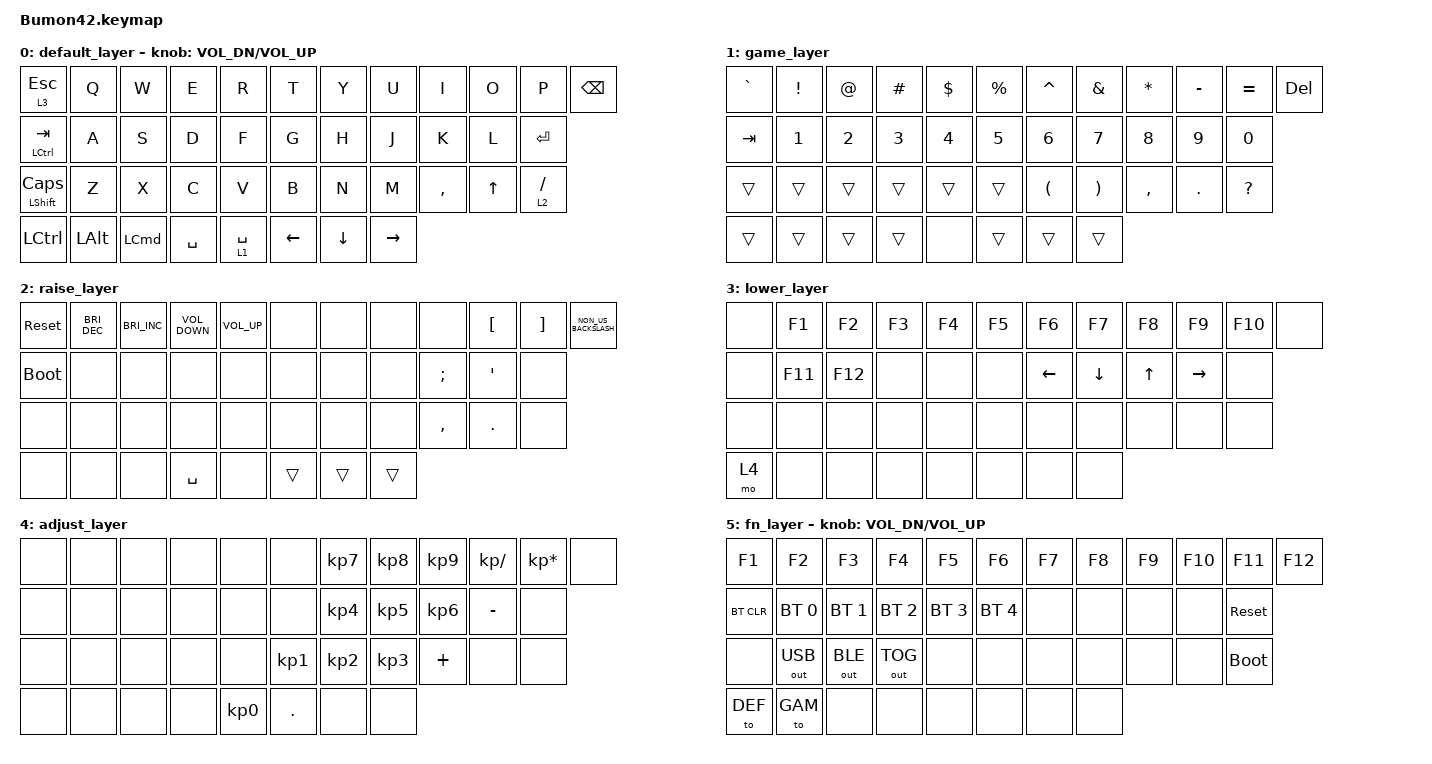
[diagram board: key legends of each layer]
#include <behaviors.dtsi>
#include <dt-bindings/zmk/bt.h>
#include <dt-bindings/zmk/keys.h>
#include <dt-bindings/zmk/outputs.h>

// changed lwr and rse

#define DEF 0
#define GAM 1
#define RSE 2
#define LWR 3
#define ADJ 4
#define FN  5

/ {
    keymap {
        compatible = "zmk,keymap";

        default_layer {
            bindings = <
&lt 3 ESCAPE         &kp Q         &kp W     &kp E      &kp R        &kp T           &kp Y           &kp U            &kp I      &kp O         &kp P        &kp BSPC
&mt LCTRL TAB        &kp A         &kp S     &kp D      &kp F        &kp G           &kp H           &kp J            &kp K      &kp L         &kp ENTER
&mt LEFT_SHIFT CAPS  &kp Z         &kp X     &kp C      &kp V        &kp B           &kp N           &kp M            &kp COMMA  &kp UP_ARROW  &lt 2 SLASH
&kp LCTRL            &kp LEFT_ALT  &kp LCMD  &kp SPACE  &lt 1 SPACE  &kp LEFT_ARROW  &kp DOWN_ARROW  &kp RIGHT_ARROW
            >;

            sensor-bindings = <&inc_dec_kp C_VOL_DN C_VOL_UP>;
        };

        game_layer {
            bindings = <
&kp GRAVE  &kp EXCLAMATION  &kp AT_SIGN  &kp HASH  &kp DOLLAR    &kp PERCENT  &kp CARET             &kp AMPERSAND          &kp ASTERISK  &kp MINUS  &kp EQUAL     &kp DEL
&kp TAB    &kp N1           &kp N2       &kp N3    &kp NUMBER_4  &kp N5       &kp N6                &kp N7                 &kp N8        &kp N9     &kp N0
&trans     &trans           &trans       &trans    &trans        &trans       &kp LEFT_PARENTHESIS  &kp RIGHT_PARENTHESIS  &kp COMMA     &kp DOT    &kp QUESTION
&trans     &trans           &trans       &trans    &none         &trans       &trans                &trans
            >;
        };

        raise_layer {
            bindings = <
&sys_reset   &kp C_BRIGHTNESS_DEC  &kp C_BRI_INC  &kp C_VOLUME_DOWN  &kp C_VOL_UP  &none   &none   &none   &none          &kp LEFT_BRACKET  &kp RIGHT_BRACKET  &kp NON_US_BACKSLASH
&bootloader  &none                 &none          &none              &none         &none   &none   &none   &kp SEMICOLON  &kp SQT           &none
&none        &none                 &none          &none              &none         &none   &none   &none   &kp COMMA      &kp DOT           &none
&none        &none                 &none          &kp SPACE          &none         &trans  &trans  &trans
            >;
        };

        lower_layer {
            bindings = <
&none  &kp F1   &kp F2   &kp F3  &kp F4  &kp F5  &kp F6          &kp F7          &kp F8  &kp F9           &kp F10  &none
&none  &kp F11  &kp F12  &none   &none   &none   &kp LEFT_ARROW  &kp DOWN_ARROW  &kp UP  &kp RIGHT_ARROW  &none
&none  &none    &none    &none   &none   &none   &none           &none           &none   &none            &none
&mo 4  &none    &none    &none   &none   &none   &none           &none
            >;
        };

        adjust_layer {
            bindings = <
&none  &none  &none  &none  &none            &none            &kp KP_NUMBER_7  &kp KP_NUMBER_8  &kp KP_NUMBER_9  &kp KP_SLASH  &kp KP_ASTERISK  &none
&none  &none  &none  &none  &none            &none            &kp KP_N4        &kp KP_NUMBER_5  &kp KP_NUMBER_6  &kp MINUS     &none
&none  &none  &none  &none  &none            &kp KP_NUMBER_1  &kp KP_NUMBER_2  &kp KP_N3        &kp PLUS         &none         &none
&none  &none  &none  &none  &kp KP_NUMBER_0  &kp DOT          &none            &none
            >;
        };

        fn_layer {
            bindings = <
&kp F1      &kp F2        &kp F3        &kp F4        &kp F5        &kp F6        &kp F7  &kp F8  &kp F9  &kp F10  &kp F11      &kp F12
&bt BT_CLR  &bt BT_SEL 0  &bt BT_SEL 1  &bt BT_SEL 2  &bt BT_SEL 3  &bt BT_SEL 4  &none   &none   &none   &none    &sys_reset
&none       &out OUT_USB  &out OUT_BLE  &out OUT_TOG  &none         &none         &none   &none   &none   &none    &bootloader
&to DEF     &to GAM       &none         &none         &none         &none         &none   &none
            >;

            sensor-bindings = <&inc_dec_kp C_VOL_DN C_VOL_UP>;
        };
    };
};
